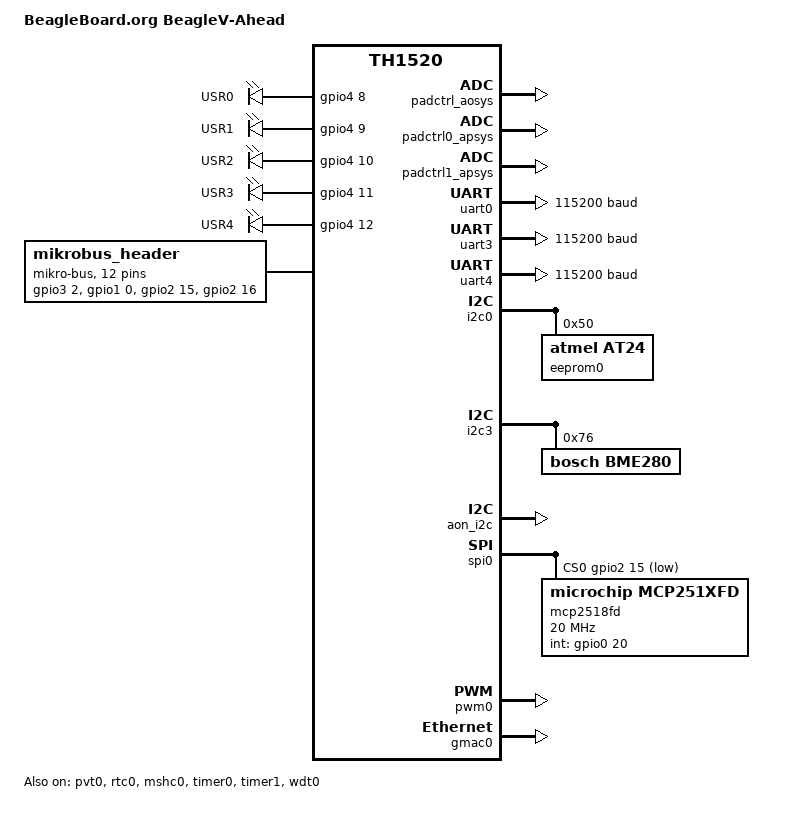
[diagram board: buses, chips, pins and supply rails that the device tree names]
/*
 * Copyright (c) 2026 BeagleV-Ahead Zephyr Port
 *
 * SPDX-License-Identifier: Apache-2.0
 */

/dts-v1/;

#include <thead/th1520.dtsi>
#include <zephyr/dt-bindings/gpio/gpio.h>
#include <zephyr/dt-bindings/pwm/pwm.h>
#include <zephyr/dt-bindings/pinctrl/th1520-pinctrl.h>

/ {
	model = "BeagleBoard.org BeagleV-Ahead";
	compatible = "beagle,beaglev-ahead", "thead,th1520";

	chosen {
		zephyr,console = &uart0;
		zephyr,shell-uart = &uart0;
		zephyr,bt-hci = &bt_hci_uart;
		zephyr,canbus = &mcp2518fd;
		zephyr,sram = &dram0;
	};

	aliases {
		led0 = &usr_led0;
		led1 = &usr_led1;
		led2 = &usr_led2;
		led3 = &usr_led3;
		led4 = &usr_led4;
		eeprom-0 = &eeprom0;
		watchdog0 = &wdt0;
		pwm-0 = &pwm0;
		rtc = &rtc0;
	};

	leds {
		compatible = "gpio-leds";

		usr_led0: led_0 {
			gpios = <&gpio4 8 GPIO_ACTIVE_HIGH>;
			label = "USR0";
		};

		usr_led1: led_1 {
			gpios = <&gpio4 9 GPIO_ACTIVE_HIGH>;
			label = "USR1";
		};

		usr_led2: led_2 {
			gpios = <&gpio4 10 GPIO_ACTIVE_HIGH>;
			label = "USR2";
		};

		usr_led3: led_3 {
			gpios = <&gpio4 11 GPIO_ACTIVE_HIGH>;
			label = "USR3";
		};

		usr_led4: led_4 {
			gpios = <&gpio4 12 GPIO_ACTIVE_HIGH>;
			label = "USR4";
		};
	};

	mikrobus_header: mikrobus-connector {
		compatible = "mikro-bus";
		#gpio-cells = <2>;
		gpio-map-mask = <0xffffffff 0xffffffc0>;
		gpio-map-pass-thru = <0 GPIO_DT_FLAGS_MASK>;
		gpio-map = <0 0 &gpio3 2 0>,   /* AN   */
			   <1 0 &gpio1 0 0>,   /* RST  */
			   <2 0 &gpio2 15 0>,  /* CS   */
			   <3 0 &gpio2 16 0>,  /* SCK  */
			   <4 0 &gpio2 18 0>,  /* MISO */
			   <5 0 &gpio2 17 0>,  /* MOSI */
			   <6 0 &gpio3 3 0>,   /* PWM  */
			   <7 0 &gpio3 4 0>,   /* INT  */
			   <8 0 &gpio1 6 0>,   /* RX   */
			   <9 0 &gpio1 5 0>,   /* TX   */
			   <10 0 &gpio1 11 0>, /* SCL  */
			   <11 0 &gpio1 12 0>; /* SDA  */
	};
};

&padctrl_aosys {
	status = "okay";
};

&padctrl0_apsys {
	status = "okay";

	i2c3_scl_default: i2c3_scl_default {
		pinmux = <TH1520_PINMUX(11, TH1520_MUX_FUNC1, 0)>;
		bias-pull-up;
		input-enable;
		drive-strength = <8>;
	};

	i2c3_sda_default: i2c3_sda_default {
		pinmux = <TH1520_PINMUX(12, TH1520_MUX_FUNC1, 0)>;
		bias-pull-up;
		input-enable;
		drive-strength = <8>;
	};

	pwm0_ch0_default: pwm0_ch0_default {
		pinmux = <TH1520_PINMUX(3, TH1520_MUX_FUNC1, 0)>;
		drive-strength = <12>;
	};
};

&padctrl1_apsys {
	status = "okay";

	uart0_tx_default: uart0_tx_default {
		pinmux = <TH1520_PINMUX(0, TH1520_MUX_FUNC0, 0)>;
		drive-strength = <8>;
	};

	uart0_rx_default: uart0_rx_default {
		pinmux = <TH1520_PINMUX(1, TH1520_MUX_FUNC0, 0)>;
		bias-pull-up;
		input-enable;
		drive-strength = <8>;
	};

	spi0_sck_default: spi0_sck_default {
		pinmux = <TH1520_PINMUX(16, TH1520_MUX_FUNC0, 0)>;
		drive-strength = <10>;
	};

	spi0_mosi_default: spi0_mosi_default {
		pinmux = <TH1520_PINMUX(17, TH1520_MUX_FUNC0, 0)>;
		drive-strength = <10>;
	};

	spi0_miso_default: spi0_miso_default {
		pinmux = <TH1520_PINMUX(18, TH1520_MUX_FUNC0, 0)>;
		bias-pull-up;
		input-enable;
		drive-strength = <10>;
	};
};

&uart0 {
	status = "okay";
	current-speed = <115200>;
	pinctrl-0 = <&uart0_tx_default &uart0_rx_default>;
	pinctrl-names = "default";
};

mikrobus_serial: &uart3 {
	status = "okay";
	current-speed = <115200>;
};

&uart4 {
	status = "okay";
	current-speed = <115200>;

	bt_hci_uart: bt_hci_uart {
		compatible = "zephyr,bt-hci-uart";
	};
};

&gpio0 {
	status = "okay";
};

&gpio1 {
	status = "okay";
};

&gpio2 {
	status = "okay";
};

&gpio3 {
	status = "okay";
};

&gpio4 {
	status = "okay";
};

&aogpio {
	status = "okay";
};

&i2c0 {
	status = "okay";

	eeprom0: eeprom@50 {
		compatible = "atmel,at24";
		reg = <0x50>;
		size = <DT_SIZE_K(4)>;
		pagesize = <32>;
		address-width = <16>;
		timeout = <5>;
	};
};

mikrobus_i2c: &i2c3 {
	status = "okay";

	bme280: bme280@76 {
		compatible = "bosch,bme280";
		reg = <0x76>;
	};
};

&aon_i2c {
	status = "okay";
};

mikrobus_spi: &spi0 {
	status = "okay";
	cs-gpios = <&gpio2 15 GPIO_ACTIVE_LOW>;

	mcp2518fd: can@0 {
		compatible = "microchip,mcp251xfd";
		reg = <0>;
		spi-max-frequency = <20000000>;
		osc-freq = <40000000>;
		int-gpios = <&gpio0 20 GPIO_ACTIVE_HIGH>;
	};
};

&pwm0 {
	status = "okay";
	pinctrl-0 = <&pwm0_ch0_default>;
	pinctrl-names = "default";
};

&pvt0 {
	status = "okay";
};

&rtc0 {
	status = "okay";
};

&dmac0 {
	status = "okay";
};

&mbox0 {
	status = "okay";
};

&gmac0 {
	status = "okay";
};

&mshc0 {
	status = "okay";
};

&timer0 {
	status = "okay";
};

&timer1 {
	status = "okay";
};

&wdt0 {
	status = "okay";
};
